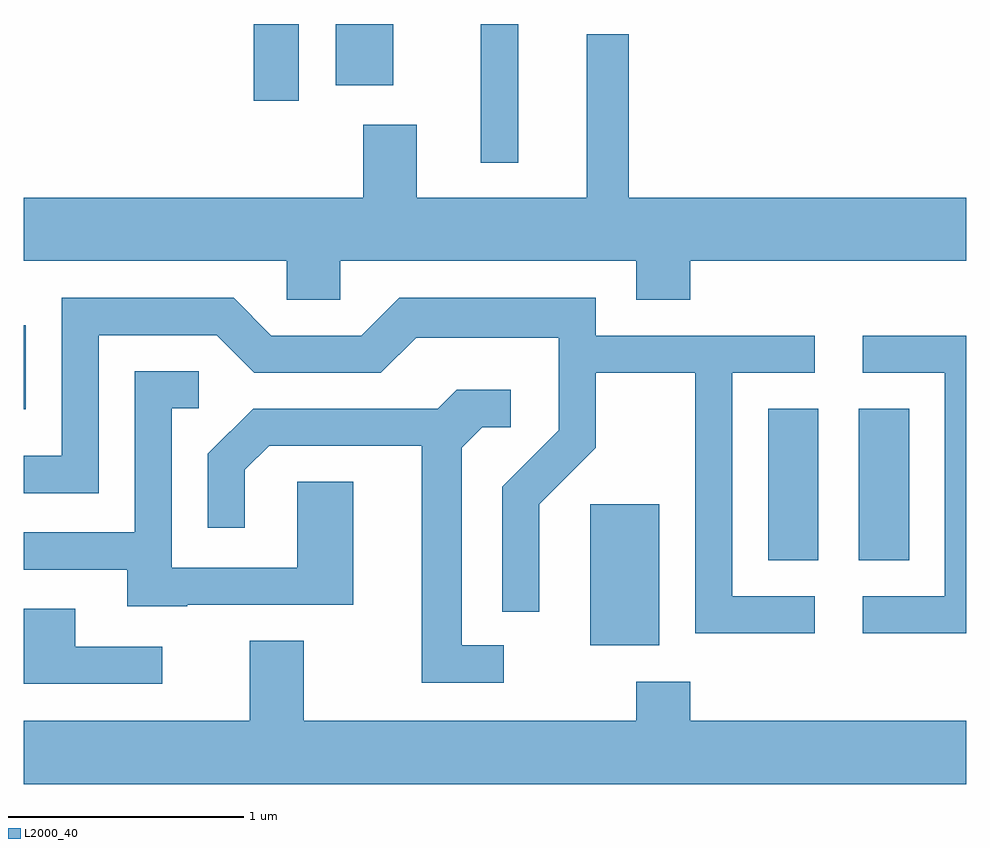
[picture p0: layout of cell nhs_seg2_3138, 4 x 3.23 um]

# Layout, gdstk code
import gdstk
lib = gdstk.Library(unit=1e-6, precision=1e-09)
def R(c, l, rs):  # rectangles x0, y0, x1, y1
    for r in rs: c.add(gdstk.rectangle(r[:2], r[2:], *l))
def P(c, l, *ps):  # polygons
    for p in ps: c.add(gdstk.Polygon(p, *l))
L2000_40 = (2000, 40)

nhs_seg2_3138 = lib.new_cell('nhs_seg2_3138')
R(nhs_seg2_3138, L2000_40, [(280.016,1011.166,280.309,1011.764), (280.771,1011.526,280.984,1012.169), (281.156,1011.526,281.369,1012.169), (277.611,1012.166,277.619,1012.523), (279.551,1013.213,279.709,1013.802), (278.586,1013.476,278.779,1013.802), (278.936,1013.541,279.179,1013.802)])
P(nhs_seg2_3138, L2000_40, [(278.954,1012.796),(280.211,1012.796),(280.211,1012.631),(280.439,1012.631),(280.439,1012.796),(281.611,1012.796),(281.611,1013.064),(280.179,1013.064),(280.179,1013.759),(280.001,1013.759),(280.001,1013.064),(279.279,1013.064),(279.279,1013.374),(279.051,1013.374),(279.051,1013.064),(277.611,1013.064),(277.611,1012.796),(278.726,1012.796),(278.726,1012.631),(278.954,1012.631)],
  [(280.968,1011.374),(280.619,1011.374),(280.619,1012.321),(280.968,1012.321),(280.968,1012.479),(280.039,1012.479),(280.039,1012.639),(279.204,1012.639),(279.044,1012.479),(278.662,1012.479),(278.502,1012.639),(277.771,1012.639),(277.771,1011.969),(277.611,1011.969),(277.611,1011.811),(277.929,1011.811),(277.929,1012.481),(278.429,1012.481),(278.589,1012.321),(279.127,1012.321),(279.277,1012.471),(279.881,1012.471),(279.881,1012.077),(279.641,1011.837),(279.641,1011.308),(279.799,1011.308),(279.799,1011.764),(280.039,1012.004),(280.039,1012.321),(280.461,1012.321),(280.461,1011.216),(280.968,1011.216)],
  [(281.611,1012.479),(281.173,1012.479),(281.173,1012.321),(281.521,1012.321),(281.521,1011.374),(281.173,1011.374),(281.173,1011.216),(281.611,1011.216)],
  [(278.305,1011.336),(279.009,1011.336),(279.009,1011.859),(278.771,1011.859),(278.771,1011.494),(278.239,1011.494),(278.239,1012.171),(278.353,1012.171),(278.353,1012.329),(278.081,1012.329),(278.081,1011.644),(277.611,1011.644),(277.611,1011.486),(278.051,1011.486),(278.051,1011.331),(278.305,1011.331)],
  [(279.648,1011.164),(279.469,1011.164),(279.469,1012.004),(279.557,1012.091),(279.678,1012.091),(279.678,1012.249),(279.449,1012.249),(279.369,1012.169),(278.584,1012.169),(278.391,1011.977),(278.391,1011.663),(278.549,1011.663),(278.549,1011.909),(278.652,1012.011),(279.301,1012.011),(279.301,1011.006),(279.648,1011.006)],
  [(278.198,1011.159),(277.829,1011.159),(277.829,1011.319),(277.611,1011.319),(277.611,1011.001),(278.198,1011.001)],
  [(281.611,1010.844),(280.439,1010.844),(280.439,1011.009),(280.211,1011.009),(280.211,1010.844),(278.799,1010.844),(278.799,1011.184),(278.571,1011.184),(278.571,1010.844),(277.611,1010.844),(277.611,1010.576),(281.611,1010.576)])

lib.write_gds('nhs_seg2_3138.gds')
